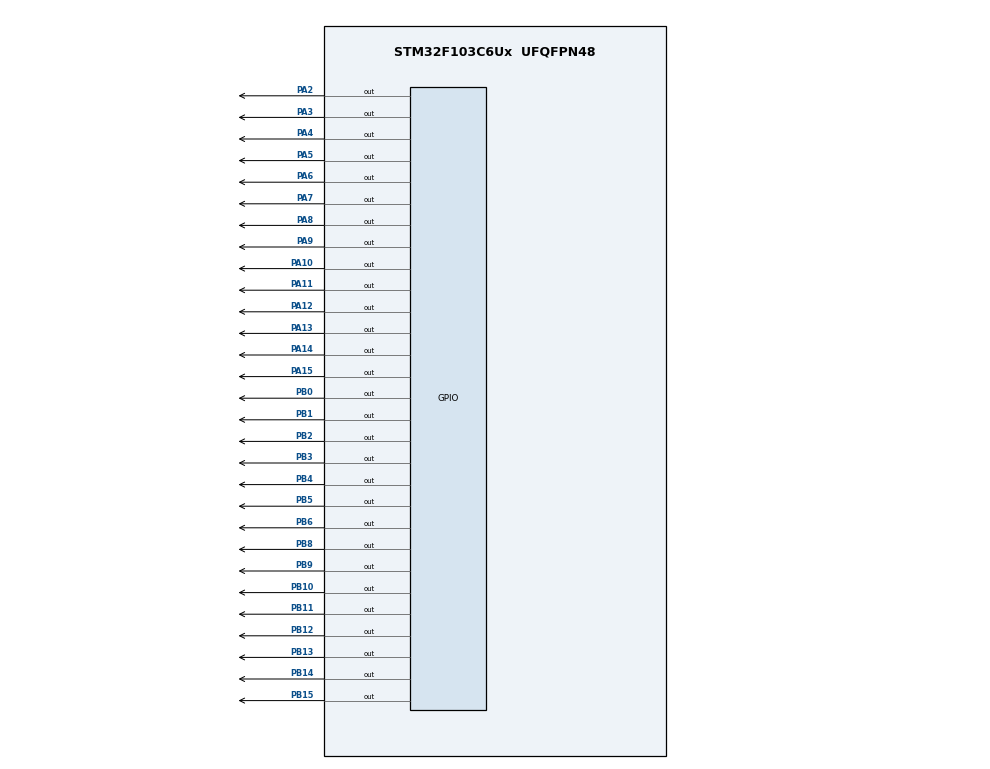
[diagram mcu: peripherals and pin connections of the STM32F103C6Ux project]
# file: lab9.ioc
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Mcu.Family=STM32F1
Mcu.Name=STM32F103C6Ux
Mcu.Package=UFQFPN48
NVIC.PriorityGroup=NVIC_PRIORITYGROUP_4
NVIC.TIM2_IRQn=true\:0\:0\:false\:false\:true\:true\:true
PA10.Signal=GPIO_Output
PA11.Signal=GPIO_Output
PA12.Signal=GPIO_Output
PA13.Signal=GPIO_Output
PA14.Signal=GPIO_Output
PA15.Signal=GPIO_Output
PA2.Signal=GPIO_Output
PA3.Signal=GPIO_Output
PA4.Signal=GPIO_Output
PA5.Signal=GPIO_Output
PA6.Signal=GPIO_Output
PA7.Signal=GPIO_Output
PA8.Signal=GPIO_Output
PA9.Signal=GPIO_Output
PB0.Signal=GPIO_Output
PB1.Signal=GPIO_Output
PB10.Signal=GPIO_Output
PB11.Signal=GPIO_Output
PB12.Signal=GPIO_Output
PB13.Signal=GPIO_Output
PB14.Signal=GPIO_Output
PB15.Signal=GPIO_Output
PB2.Signal=GPIO_Output
PB3.Signal=GPIO_Output
PB4.Signal=GPIO_Output
PB5.Signal=GPIO_Output
PB6.Signal=GPIO_Output
PB8.Signal=GPIO_Output
PB9.Signal=GPIO_Output
ProjectManager.HeapSize=0x200
ProjectManager.StackSize=0x400
ProjectManager.TargetToolchain=STM32CubeIDE
RCC.APB1Freq_Value=8000000
RCC.APB2Freq_Value=8000000
TIM2.Period=9
TIM2.Prescaler=7999
VP_SYS_VS_ND.Mode=No_Debug
VP_TIM2_VS_ClockSourceINT.Mode=Internal
board=custom

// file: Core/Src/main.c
/* USER CODE BEGIN Header */
/**
  ******************************************************************************
  * @file           : main.c
  * @brief          : Main program body
  ******************************************************************************
  * @attention
  *
  * <h2><center>&copy; Copyright (c) 2024 STMicroelectronics.
  * All rights reserved.</center></h2>
  *
  * This software component is licensed by ST under BSD 3-Clause license,
  * the "License"; You may not use this file except in compliance with the
  * License. You may obtain a copy of the License at:
  *                        opensource.org/licenses/BSD-3-Clause
  *
  ******************************************************************************
  */
/* USER CODE END Header */
#include "main.h"

/* USER CODE BEGIN Includes */
#include "softwaretimer.h"
/* USER CODE END Includes */

/* USER CODE BEGIN PD */
#define RUN_TIME    100
#define MAX_LED_MATRIX 8
/* USER CODE END PD */

TIM_HandleTypeDef htim2;

/* USER CODE BEGIN PV */
int counter = RUN_TIME;
int index_led = 0;
int led_buffer[4] = {1, 2, 3, 4};
int hour = 12, minute = 34, second = 58;
uint8_t LED7_SEG[10] = {0xC0, 0xF9, 0xA4, 0xB0, 0x99, 0x92, 0x82, 0xF8, 0x80, 0x90};

int index_led_matrix = 0;
uint8_t matrix_buffer[8] = {0x01, 0x02, 0x03, 0x04, 0x05, 0x06, 0x07, 0x08};
/* USER CODE END PV */

void SystemClock_Config(void);
static void MX_GPIO_Init(void);
static void MX_TIM2_Init(void);

/* USER CODE BEGIN 0 */
/* Function to display 7-segment LED */
void display7SEG(int index) {
    HAL_GPIO_WritePin(GPIOB, GPIO_PIN_0, ((LED7_SEG[index] >> 0) & 0x01));
    HAL_GPIO_WritePin(GPIOB, GPIO_PIN_1, ((LED7_SEG[index] >> 1) & 0x01));
    HAL_GPIO_WritePin(GPIOB, GPIO_PIN_2, ((LED7_SEG[index] >> 2) & 0x01));
    HAL_GPIO_WritePin(GPIOB, GPIO_PIN_3, ((LED7_SEG[index] >> 3) & 0x01));
    HAL_GPIO_WritePin(GPIOB, GPIO_PIN_4, ((LED7_SEG[index] >> 4) & 0x01));
    HAL_GPIO_WritePin(GPIOB, GPIO_PIN_5, ((LED7_SEG[index] >> 5) & 0x01));
    HAL_GPIO_WritePin(GPIOB, GPIO_PIN_6, ((LED7_SEG[index] >> 6) & 0x01));
}

/* Enable corresponding 7-segment display */
void enable7SEG(int index) {
    switch (index) {
        case 0:
            HAL_GPIO_WritePin(GPIOA, GPIO_PIN_6, RESET);  // EN0
            HAL_GPIO_WritePin(GPIOA, GPIO_PIN_7, SET);    // EN1
            HAL_GPIO_WritePin(GPIOA, GPIO_PIN_8, SET);    // EN2
            HAL_GPIO_WritePin(GPIOA, GPIO_PIN_9, SET);    // EN3
            break;
        case 1:
            HAL_GPIO_WritePin(GPIOA, GPIO_PIN_6, SET);    // EN0
            HAL_GPIO_WritePin(GPIOA, GPIO_PIN_7, RESET);  // EN1
            HAL_GPIO_WritePin(GPIOA, GPIO_PIN_8, SET);    // EN2
            HAL_GPIO_WritePin(GPIOA, GPIO_PIN_9, SET);    // EN3
            break;
        case 2:
            HAL_GPIO_WritePin(GPIOA, GPIO_PIN_6, SET);    // EN0
            HAL_GPIO_WritePin(GPIOA, GPIO_PIN_7, SET);    // EN1
            HAL_GPIO_WritePin(GPIOA, GPIO_PIN_8, RESET);  // EN2
            HAL_GPIO_WritePin(GPIOA, GPIO_PIN_9, SET);    // EN3
            break;
        case 3:
            HAL_GPIO_WritePin(GPIOA, GPIO_PIN_6, SET);    // EN0
            HAL_GPIO_WritePin(GPIOA, GPIO_PIN_7, SET);    // EN1
            HAL_GPIO_WritePin(GPIOA, GPIO_PIN_8, SET);    // EN2
            HAL_GPIO_WritePin(GPIOA, GPIO_PIN_9, RESET);  // EN3
            break;
        default:
            break;
    }
}

void updateLEDMatrix(int index) {

    HAL_GPIO_WritePin(GPIOA, GPIO_PIN_2, SET);    // ENM0
    HAL_GPIO_WritePin(GPIOA, GPIO_PIN_3, SET);    // ENM1
    HAL_GPIO_WritePin(GPIOA, GPIO_PIN_10, SET);   // ENM2
    HAL_GPIO_WritePin(GPIOA, GPIO_PIN_11, SET);   // ENM3
    HAL_GPIO_WritePin(GPIOA, GPIO_PIN_12, SET);   // ENM4
    HAL_GPIO_WritePin(GPIOA, GPIO_PIN_13, SET);   // ENM5
    HAL_GPIO_WritePin(GPIOA, GPIO_PIN_14, SET);   // ENM6
    HAL_GPIO_WritePin(GPIOA, GPIO_PIN_15, SET);   // ENM7

    switch (index) {
        case 0:
            HAL_GPIO_WritePin(GPIOA, GPIO_PIN_2, RESET);  // ENM0
            break;
        case 1:
            HAL_GPIO_WritePin(GPIOA, GPIO_PIN_3, RESET);  // ENM1
            break;
        case 2:
            HAL_GPIO_WritePin(GPIOA, GPIO_PIN_10, RESET); // ENM2
            break;
        case 3:
            HAL_GPIO_WritePin(GPIOA, GPIO_PIN_11, RESET); // ENM3
            break;
        case 4:
            HAL_GPIO_WritePin(GPIOA, GPIO_PIN_12, RESET); // ENM4
            break;
        case 5:
            HAL_GPIO_WritePin(GPIOA, GPIO_PIN_13, RESET); // ENM5
            break;
        case 6:
            HAL_GPIO_WritePin(GPIOA, GPIO_PIN_14, RESET); // ENM6
            break;
        case 7:
            HAL_GPIO_WritePin(GPIOA, GPIO_PIN_15, RESET); // ENM7
            break;
    }
    uint8_t data = matrix_buffer[index];
    HAL_GPIO_WritePin(GPIOB, GPIO_PIN_8, (data & 0x01) ? RESET : SET);   // Cột 0
        HAL_GPIO_WritePin(GPIOB, GPIO_PIN_9, (data & 0x02) ? RESET : SET);   // Cột 1
        HAL_GPIO_WritePin(GPIOB, GPIO_PIN_10, (data & 0x04) ? RESET : SET);  // Cột 2
        HAL_GPIO_WritePin(GPIOB, GPIO_PIN_11, (data & 0x08) ? RESET : SET);  // Cột 3
        HAL_GPIO_WritePin(GPIOB, GPIO_PIN_12, (data & 0x10) ? RESET : SET);  // Cột 4
        HAL_GPIO_WritePin(GPIOB, GPIO_PIN_13, (data & 0x20) ? RESET : SET);  // Cột 5
        HAL_GPIO_WritePin(GPIOB, GPIO_PIN_14, (data & 0x40) ? RESET : SET);  // Cột 6
        HAL_GPIO_WritePin(GPIOB, GPIO_PIN_15, (data & 0x80) ? RESET : SET);  // Cột 7

}

/* Update the 7-segment display buffer */
void updateClockBuffer() {
    led_buffer[0] = hour / 10;
    led_buffer[1] = hour % 10;
    led_buffer[2] = minute / 10;
    led_buffer[3] = minute % 10;
}

/* USER CODE END 0 */

int main(void)
{

  /* MCU Configuration--------------------------------------------------------*/

  /* Reset of all peripherals, Initializes the Flash interface and the Systick. */
  HAL_Init();

  /* Configure the system clock */
  SystemClock_Config();

  /* Initialize all configured peripherals */
  MX_GPIO_Init();
  MX_TIM2_Init();
  /* USER CODE BEGIN 2 */
  HAL_TIM_Base_Start_IT(&htim2);
  /* USER CODE END 2 */

  /* Infinite loop */
  /* USER CODE BEGIN WHILE */
  setTimer0(RUN_TIME);
  while (1)
  {
    /* USER CODE END WHILE */
	  if (timer0_flag == 1) {
	             if (index_led == 0) {
	                 second++;
	                 if (second >= 60) {
	                     second = 0;
	                     minute++;
	                 }
	                 if (minute >= 60) {
	                     minute = 0;
	                     hour++;
	                 }
	                 if (hour >= 24) {
	                     hour = 0;
	                 }
	                 updateClockBuffer();
	             }
	             HAL_GPIO_TogglePin(GPIOA, GPIO_PIN_5);
	             if (index_led == 2 || index_led == 0) {
	                 HAL_GPIO_TogglePin(GPIOA, GPIO_PIN_4);
	             }

	             enable7SEG(index_led);
	             display7SEG(led_buffer[index_led++]);
	             if (index_led > 3) {
	                 index_led = 0;
	             }

	             updateLEDMatrix(index_led_matrix);
	             index_led_matrix++;// Update LED matrix
	             if (index_led_matrix >= MAX_LED_MATRIX) {
	                 index_led_matrix = 0;
	             }

	             setTimer0(RUN_TIME);
	         }

  }
}

void SystemClock_Config(void)
{
  RCC_OscInitTypeDef RCC_OscInitStruct = {0};
  RCC_ClkInitTypeDef RCC_ClkInitStruct = {0};

  /** Initializes the RCC Oscillators according to the specified parameters
  * in the RCC_OscInitTypeDef structure.
  */
  RCC_OscInitStruct.OscillatorType = RCC_OSCILLATORTYPE_HSI;
  RCC_OscInitStruct.HSIState = RCC_HSI_ON;
  RCC_OscInitStruct.HSICalibrationValue = RCC_HSICALIBRATION_DEFAULT;
  RCC_OscInitStruct.PLL.PLLState = RCC_PLL_NONE;
  if (HAL_RCC_OscConfig(&RCC_OscInitStruct) != HAL_OK)
  {
    Error_Handler();
  }
  /** Initializes the CPU, AHB and APB buses clocks
  */
  RCC_ClkInitStruct.ClockType = RCC_CLOCKTYPE_HCLK|RCC_CLOCKTYPE_SYSCLK
                              |RCC_CLOCKTYPE_PCLK1|RCC_CLOCKTYPE_PCLK2;
  RCC_ClkInitStruct.SYSCLKSource = RCC_SYSCLKSOURCE_HSI;
  RCC_ClkInitStruct.AHBCLKDivider = RCC_SYSCLK_DIV1;
  RCC_ClkInitStruct.APB1CLKDivider = RCC_HCLK_DIV1;
  RCC_ClkInitStruct.APB2CLKDivider = RCC_HCLK_DIV1;

  if (HAL_RCC_ClockConfig(&RCC_ClkInitStruct, FLASH_LATENCY_0) != HAL_OK)
  {
    Error_Handler();
  }
}

static void MX_TIM2_Init(void)
{

  TIM_ClockConfigTypeDef sClockSourceConfig = {0};
  TIM_MasterConfigTypeDef sMasterConfig = {0};

  htim2.Instance = TIM2;
  htim2.Init.Prescaler = 7999;
  htim2.Init.CounterMode = TIM_COUNTERMODE_UP;
  htim2.Init.Period = 9;
  htim2.Init.ClockDivision = TIM_CLOCKDIVISION_DIV1;
  htim2.Init.AutoReloadPreload = TIM_AUTORELOAD_PRELOAD_DISABLE;
  if (HAL_TIM_Base_Init(&htim2) != HAL_OK)
  {
    Error_Handler();
  }
  sClockSourceConfig.ClockSource = TIM_CLOCKSOURCE_INTERNAL;
  if (HAL_TIM_ConfigClockSource(&htim2, &sClockSourceConfig) != HAL_OK)
  {
    Error_Handler();
  }
  sMasterConfig.MasterOutputTrigger = TIM_TRGO_RESET;
  sMasterConfig.MasterSlaveMode = TIM_MASTERSLAVEMODE_DISABLE;
  if (HAL_TIMEx_MasterConfigSynchronization(&htim2, &sMasterConfig) != HAL_OK)
  {
    Error_Handler();
  }

}

static void MX_GPIO_Init(void)
{
  GPIO_InitTypeDef GPIO_InitStruct = {0};

  /* GPIO Ports Clock Enable */
  __HAL_RCC_GPIOA_CLK_ENABLE();
  __HAL_RCC_GPIOB_CLK_ENABLE();

  /*Configure GPIO pin Output Level */
  HAL_GPIO_WritePin(GPIOA, GPIO_PIN_2|GPIO_PIN_3|GPIO_PIN_4|GPIO_PIN_5
                          |GPIO_PIN_6|GPIO_PIN_7|GPIO_PIN_8|GPIO_PIN_9
                          |GPIO_PIN_10|GPIO_PIN_11|GPIO_PIN_12|GPIO_PIN_13
                          |GPIO_PIN_14|GPIO_PIN_15, GPIO_PIN_RESET);

  /*Configure GPIO pin Output Level */
  HAL_GPIO_WritePin(GPIOB, GPIO_PIN_0|GPIO_PIN_1|GPIO_PIN_2|GPIO_PIN_10
                          |GPIO_PIN_11|GPIO_PIN_12|GPIO_PIN_13|GPIO_PIN_14
                          |GPIO_PIN_15|GPIO_PIN_3|GPIO_PIN_4|GPIO_PIN_5
                          |GPIO_PIN_6|GPIO_PIN_8|GPIO_PIN_9, GPIO_PIN_RESET);

  /*Configure GPIO pins : PA2 PA3 PA4 PA5
                           PA6 PA7 PA8 PA9
                           PA10 PA11 PA12 PA13
                           PA14 PA15 */
  GPIO_InitStruct.Pin = GPIO_PIN_2|GPIO_PIN_3|GPIO_PIN_4|GPIO_PIN_5
                          |GPIO_PIN_6|GPIO_PIN_7|GPIO_PIN_8|GPIO_PIN_9
                          |GPIO_PIN_10|GPIO_PIN_11|GPIO_PIN_12|GPIO_PIN_13
                          |GPIO_PIN_14|GPIO_PIN_15;
  GPIO_InitStruct.Mode = GPIO_MODE_OUTPUT_PP;
  GPIO_InitStruct.Pull = GPIO_NOPULL;
  GPIO_InitStruct.Speed = GPIO_SPEED_FREQ_LOW;
  HAL_GPIO_Init(GPIOA, &GPIO_InitStruct);

  /*Configure GPIO pins : PB0 PB1 PB2 PB10
                           PB11 PB12 PB13 PB14
                           PB15 PB3 PB4 PB5
                           PB6 PB8 PB9 */
  GPIO_InitStruct.Pin = GPIO_PIN_0|GPIO_PIN_1|GPIO_PIN_2|GPIO_PIN_10
                          |GPIO_PIN_11|GPIO_PIN_12|GPIO_PIN_13|GPIO_PIN_14
                          |GPIO_PIN_15|GPIO_PIN_3|GPIO_PIN_4|GPIO_PIN_5
                          |GPIO_PIN_6|GPIO_PIN_8|GPIO_PIN_9;
  GPIO_InitStruct.Mode = GPIO_MODE_OUTPUT_PP;
  GPIO_InitStruct.Pull = GPIO_NOPULL;
  GPIO_InitStruct.Speed = GPIO_SPEED_FREQ_LOW;
  HAL_GPIO_Init(GPIOB, &GPIO_InitStruct);

}

/* USER CODE BEGIN 4 */
void HAL_TIM_PeriodElapsedCallback(TIM_HandleTypeDef *htim) {
    timer_run();
}
/* USER CODE END 4 */

void Error_Handler(void)
{
  __disable_irq();
  while (1)
  {
  }
}

/************************ (C) COPYRIGHT STMicroelectronics *****END OF FILE****/
